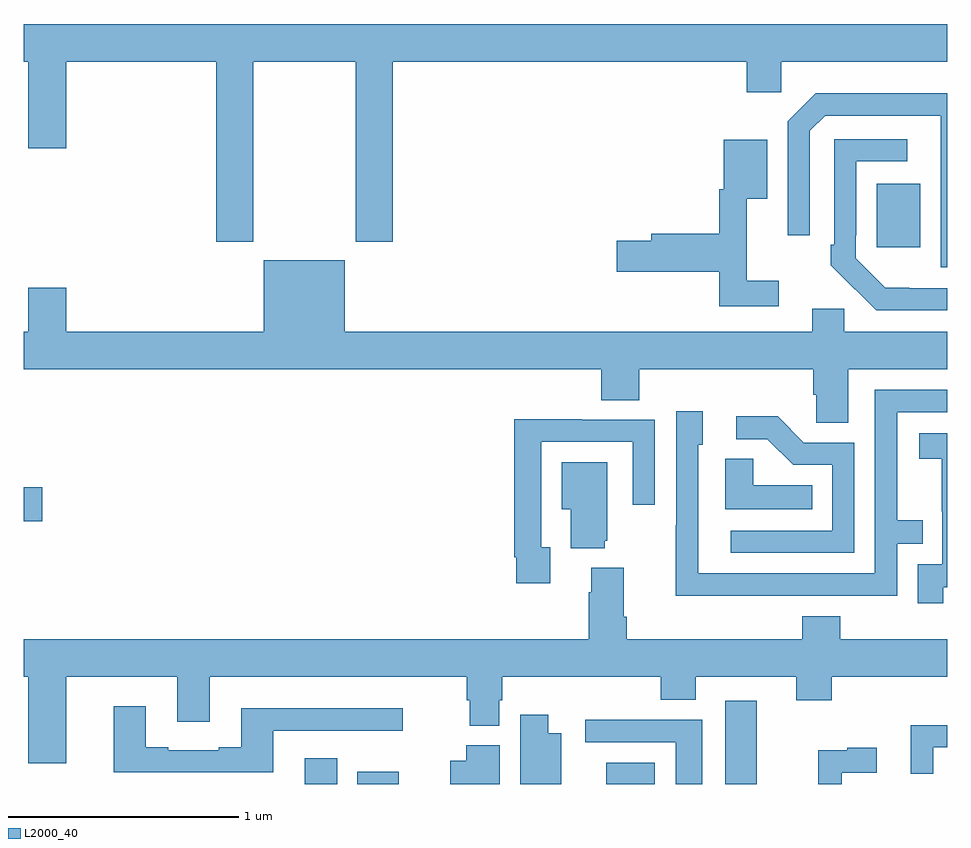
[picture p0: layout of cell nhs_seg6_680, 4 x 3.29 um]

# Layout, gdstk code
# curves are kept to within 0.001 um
import gdstk
lib = gdstk.Library(unit=1e-6, precision=1e-09)
def R(c, l, rs):  # rectangles x0, y0, x1, y1
    for r in rs: c.add(gdstk.rectangle(r[:2], r[2:], *l))
def P(c, l, *ps):  # polygons
    for p in ps: c.add(gdstk.Polygon(p, *l))
L2000_40 = (2000, 40)

nhs_seg6_680 = lib.new_cell('nhs_seg6_680')
R(nhs_seg6_680, L2000_40, [(154.217,985.5,154.357,985.612), (154.445,985.5,154.624,985.552), (155.522,985.5,155.734,985.591), (156.038,985.5,156.175,985.861), (153,986.639,153.079,986.786), (156.695,987.825,156.883,988.099)])
P(nhs_seg6_680, L2000_40, [(153.993,988.628),(154.438,988.628),(154.438,987.849),(154.598,987.849),(154.598,988.628),(156.131,988.628),(156.131,988.497),(156.282,988.497),(156.282,988.628),(157,988.628),(157,988.792),(153,988.792),(153,988.628),(153.02,988.628),(153.02,988.254),(153.184,988.254),(153.184,988.628),(153.833,988.628),(153.833,987.849),(153.993,987.849)],
  [(157,988.492),(156.43,988.492),(156.309,988.371),(156.309,987.876),(156.405,987.876),(156.405,988.329),(156.471,988.395),(156.971,988.395),(156.971,988.195),(156.972,988.195),(156.972,987.738),(157,987.738)],
  [(157,987.648),(156.732,987.649),(156.603,987.777),(156.603,987.877),(156.606,987.877),(156.606,988.197),(156.826,988.197),(156.826,988.293),(156.51,988.293),(156.51,987.835),(156.495,987.835),(156.495,987.747),(156.692,987.552),(157,987.552)],
  [(156.271,987.679),(156.131,987.679),(156.131,988.034),(156.22,988.034),(156.22,988.291),(156.032,988.291),(156.032,988.077),(156.013,988.077),(156.013,987.884),(155.717,987.884),(155.717,987.854),(155.568,987.854),(155.568,987.719),(156.013,987.719),(156.013,987.57),(156.271,987.57)],
  [(156.571,987.296),(157,987.296),(157,987.46),(156.555,987.46),(156.555,987.558),(156.416,987.558),(156.416,987.46),(154.39,987.46),(154.39,987.769),(154.04,987.769),(154.04,987.46),(153.184,987.46),(153.184,987.649),(153.02,987.649),(153.02,987.46),(153,987.46),(153,987.296),(155.501,987.296),(155.501,987.163),(155.666,987.163),(155.666,987.296),(156.419,987.296),(156.419,987.187),(156.432,987.187),(156.432,987.064),(156.571,987.064)],
  [(156.287,986.316),(156.783,986.316),(156.783,986.541),(156.893,986.541),(156.893,986.642),(156.783,986.642),(156.783,987.111),(157,987.111),(157,987.207),(156.687,987.207),(156.687,986.412),(155.922,986.412),(155.922,986.97),(155.941,986.97),(155.941,987.115),(155.826,987.115),(155.826,986.621),(155.824,986.621),(155.824,986.315),(156.287,986.315)],
  [(156.597,986.979),(156.378,986.979),(156.265,987.092),(156.087,987.092),(156.087,986.994),(156.221,986.994),(156.332,986.883),(156.501,986.883),(156.501,986.598),(156.063,986.598),(156.063,986.502),(156.597,986.502)],
  [(155.281,986.526),(155.241,986.526),(155.241,986.982),(155.637,986.982),(155.637,986.709),(155.733,986.709),(155.733,987.078),(155.417,987.078),(155.417,987.08),(155.125,987.08),(155.125,986.482),(155.133,986.482),(155.133,986.37),(155.281,986.37)],
  [(156.982,986.353),(157,986.353),(157,987.019),(156.879,987.019),(156.879,986.909),(156.977,986.909),(156.977,986.681),(156.978,986.681),(156.978,986.451),(156.873,986.451),(156.873,986.283),(156.982,986.283)],
  [(156.416,986.794),(156.159,986.794),(156.159,986.909),(156.038,986.909),(156.038,986.69),(156.416,986.69)],
  [(155.516,986.553),(155.527,986.553),(155.527,986.893),(155.33,986.893),(155.33,986.69),(155.369,986.69),(155.369,986.522),(155.516,986.522)],
  [(153.184,985.964),(153.665,985.964),(153.665,985.77),(153.805,985.77),(153.805,985.964),(154.919,985.964),(154.919,985.863),(154.931,985.863),(154.931,985.753),(155.059,985.753),(155.059,985.863),(155.072,985.863),(155.072,985.964),(155.759,985.964),(155.759,985.865),(155.911,985.865),(155.911,985.964),(156.347,985.964),(156.347,985.862),(156.5,985.862),(156.5,985.964),(157,985.964),(157,986.128),(156.536,986.128),(156.536,986.227),(156.371,986.227),(156.371,986.128),(155.612,986.128),(155.612,986.224),(155.599,986.224),(155.599,986.437),(155.459,986.437),(155.459,986.33),(155.447,986.33),(155.447,986.128),(153,986.128),(153,985.964),(153.02,985.964),(153.02,985.59),(153.184,985.59)],
  [(154.081,985.731),(154.642,985.731),(154.642,985.828),(153.941,985.828),(153.941,985.66),(153.845,985.66),(153.845,985.647),(153.625,985.647),(153.625,985.66),(153.529,985.66),(153.529,985.837),(153.389,985.837),(153.389,985.55),(154.081,985.55)],
  [(155.329,985.72),(155.272,985.72),(155.272,985.801),(155.15,985.801),(155.15,985.5),(155.329,985.5)],
  [(155.938,985.778),(155.433,985.778),(155.433,985.68),(155.825,985.68),(155.825,985.5),(155.938,985.5)],
  [(156.939,985.659),(157,985.659),(157,985.755),(156.842,985.755),(156.842,985.544),(156.939,985.544)],
  [(155.062,985.668),(154.916,985.668),(154.916,985.6),(154.847,985.6),(154.847,985.5),(155.062,985.5)],
  [(156.543,985.548),(156.694,985.548),(156.694,985.657),(156.566,985.657),(156.566,985.646),(156.442,985.646),(156.442,985.5),(156.543,985.5)])

lib.write_gds('nhs_seg6_680.gds')
